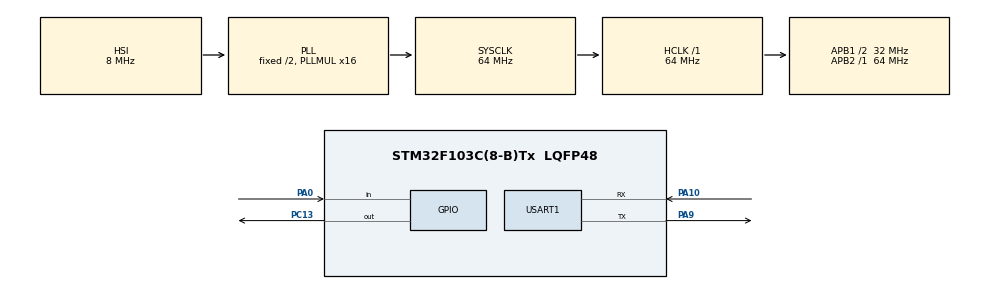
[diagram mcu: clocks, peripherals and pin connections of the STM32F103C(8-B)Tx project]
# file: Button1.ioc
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Mcu.Family=STM32F1
Mcu.Name=STM32F103C(8-B)Tx
Mcu.Package=LQFP48
NVIC.PriorityGroup=NVIC_PRIORITYGROUP_4
PA0-WKUP.Signal=GPIO_Input
PA10.Mode=Asynchronous
PA10.Signal=USART1_RX
PA13.Mode=Serial_Wire
PA13.Signal=SYS_JTMS-SWDIO
PA14.Mode=Serial_Wire
PA14.Signal=SYS_JTCK-SWCLK
PA9.Mode=Asynchronous
PA9.Signal=USART1_TX
PC13-TAMPER-RTC.Signal=GPIO_Output
PD0-OSC_IN.Mode=HSE-External-Oscillator
PD0-OSC_IN.Signal=RCC_OSC_IN
PD1-OSC_OUT.Mode=HSE-External-Oscillator
PD1-OSC_OUT.Signal=RCC_OSC_OUT
ProjectManager.HeapSize=0x200
ProjectManager.StackSize=0x400
ProjectManager.TargetToolchain=STM32CubeIDE
RCC.AHBFreq_Value=64000000
RCC.APB1CLKDivider=RCC_HCLK_DIV2
RCC.APB1Freq_Value=32000000
RCC.APB1TimFreq_Value=64000000
RCC.APB2Freq_Value=64000000
RCC.APB2TimFreq_Value=64000000
RCC.HCLKFreq_Value=64000000
RCC.PLLMUL=RCC_PLL_MUL16
RCC.SYSCLKFreq_VALUE=64000000
RCC.SYSCLKSource=RCC_SYSCLKSOURCE_PLLCLK
RCC.USBFreq_Value=64000000
USART1.VirtualMode=VM_ASYNC
board=custom

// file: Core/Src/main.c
/* USER CODE BEGIN Header */
/**
  ******************************************************************************
  * @file           : main.c
  * @brief          : Main program body
  ******************************************************************************
  * @attention
  *
  * Copyright (c) 2025 STMicroelectronics.
  * All rights reserved.
  *
  * This software is licensed under terms that can be found in the LICENSE file
  * in the root directory of this software component.
  * If no LICENSE file comes with this software, it is provided AS-IS.
  *
  ******************************************************************************
  */
/* USER CODE END Header */
#include "main.h"

 UART_HandleTypeDef huart1;

void SystemClock_Config(void);
static void MX_GPIO_Init(void);
static void MX_USART1_UART_Init(void);

/* USER CODE BEGIN 0 */
uint8_t text[] = "STM32\n";
uint8_t btn_current = 1;
uint8_t btn_last = 1;
uint8_t btn_filter = 1;
uint8_t is_debouncing;
uint32_t time_debounce;
uint32_t time_start_press;
void btn_pressing_callback()
{

}
void btn_press_short_callback()
{

}
void btn_single_press_action()
{

}
void btn_press_timeout()
{

}
void btn_release_callback()
{

}
void btn_single_release_action()
{

}
void button_filter()
{
	uint8_t sta_btn = HAL_GPIO_ReadPin(GPIOA, GPIO_PIN_0);
	if (sta_btn != btn_filter)
	{
		btn_filter = sta_btn;
		is_debouncing = 1;
		time_debounce = HAL_GetTick();
	}
	if (is_debouncing && HAL_GetTick() - time_debounce >= 15)
	{
		btn_current = btn_filter;
		is_debouncing = 0;
	}
}
void button_handle_synthesize()
{
	if (btn_current != btn_last)
	{
		if (btn_current == 0)
		{
			time_start_press = HAL_GetTick();
			btn_pressing_callback();

		}
		else
		{
			if (HAL_GetTick() - time_start_press <= 1000)
			{
				btn_press_short_callback();
			}
			btn_release_callback();

		}
		btn_last = btn_current;
	}
}
void button_handle_separately()
{
	if (btn_current != btn_last)
	{
		if (btn_current == 0)
		{
			time_start_press = HAL_GetTick();

		}
		else
		{
			if (HAL_GetTick() - time_start_press <= 1000)
			{
				btn_single_press_action();
			}
			if (HAL_GetTick() - time_start_press >= 3000)
			{
				btn_press_timeout();
			}
		}
		btn_last = btn_current;
	}
}

/* USER CODE END 0 */

int main(void)
{

  /* MCU Configuration--------------------------------------------------------*/

  /* Reset of all peripherals, Initializes the Flash interface and the Systick. */
  HAL_Init();

  /* Configure the system clock */
  SystemClock_Config();

  /* Initialize all configured peripherals */
  MX_GPIO_Init();
  MX_USART1_UART_Init();
  /* USER CODE BEGIN 2 */
  HAL_UART_Transmit(&huart1, text, sizeof(text), 500);
  /* USER CODE END 2 */

  /* Infinite loop */
  while (1)
  {

  }
}

void SystemClock_Config(void)
{
  RCC_OscInitTypeDef RCC_OscInitStruct = {0};
  RCC_ClkInitTypeDef RCC_ClkInitStruct = {0};

  /** Initializes the RCC Oscillators according to the specified parameters
  * in the RCC_OscInitTypeDef structure.
  */
  RCC_OscInitStruct.OscillatorType = RCC_OSCILLATORTYPE_HSI;
  RCC_OscInitStruct.HSIState = RCC_HSI_ON;
  RCC_OscInitStruct.HSICalibrationValue = RCC_HSICALIBRATION_DEFAULT;
  RCC_OscInitStruct.PLL.PLLState = RCC_PLL_ON;
  RCC_OscInitStruct.PLL.PLLSource = RCC_PLLSOURCE_HSI_DIV2;
  RCC_OscInitStruct.PLL.PLLMUL = RCC_PLL_MUL16;
  if (HAL_RCC_OscConfig(&RCC_OscInitStruct) != HAL_OK)
  {
    Error_Handler();
  }

  /** Initializes the CPU, AHB and APB buses clocks
  */
  RCC_ClkInitStruct.ClockType = RCC_CLOCKTYPE_HCLK|RCC_CLOCKTYPE_SYSCLK
                              |RCC_CLOCKTYPE_PCLK1|RCC_CLOCKTYPE_PCLK2;
  RCC_ClkInitStruct.SYSCLKSource = RCC_SYSCLKSOURCE_PLLCLK;
  RCC_ClkInitStruct.AHBCLKDivider = RCC_SYSCLK_DIV1;
  RCC_ClkInitStruct.APB1CLKDivider = RCC_HCLK_DIV2;
  RCC_ClkInitStruct.APB2CLKDivider = RCC_HCLK_DIV1;

  if (HAL_RCC_ClockConfig(&RCC_ClkInitStruct, FLASH_LATENCY_2) != HAL_OK)
  {
    Error_Handler();
  }
}

static void MX_USART1_UART_Init(void)
{

  huart1.Instance = USART1;
  huart1.Init.BaudRate = 115200;
  huart1.Init.WordLength = UART_WORDLENGTH_8B;
  huart1.Init.StopBits = UART_STOPBITS_1;
  huart1.Init.Parity = UART_PARITY_NONE;
  huart1.Init.Mode = UART_MODE_TX_RX;
  huart1.Init.HwFlowCtl = UART_HWCONTROL_NONE;
  huart1.Init.OverSampling = UART_OVERSAMPLING_16;
  if (HAL_UART_Init(&huart1) != HAL_OK)
  {
    Error_Handler();
  }

}

static void MX_GPIO_Init(void)
{
  GPIO_InitTypeDef GPIO_InitStruct = {0};

  /* GPIO Ports Clock Enable */
  __HAL_RCC_GPIOC_CLK_ENABLE();
  __HAL_RCC_GPIOD_CLK_ENABLE();
  __HAL_RCC_GPIOA_CLK_ENABLE();

  /*Configure GPIO pin Output Level */
  HAL_GPIO_WritePin(GPIOC, GPIO_PIN_13, GPIO_PIN_RESET);

  /*Configure GPIO pin : PC13 */
  GPIO_InitStruct.Pin = GPIO_PIN_13;
  GPIO_InitStruct.Mode = GPIO_MODE_OUTPUT_PP;
  GPIO_InitStruct.Pull = GPIO_NOPULL;
  GPIO_InitStruct.Speed = GPIO_SPEED_FREQ_LOW;
  HAL_GPIO_Init(GPIOC, &GPIO_InitStruct);

  /*Configure GPIO pin : PA0 */
  GPIO_InitStruct.Pin = GPIO_PIN_0;
  GPIO_InitStruct.Mode = GPIO_MODE_INPUT;
  GPIO_InitStruct.Pull = GPIO_NOPULL;
  HAL_GPIO_Init(GPIOA, &GPIO_InitStruct);

}

void Error_Handler(void)
{
  __disable_irq();
  while (1)
  {
  }
}
